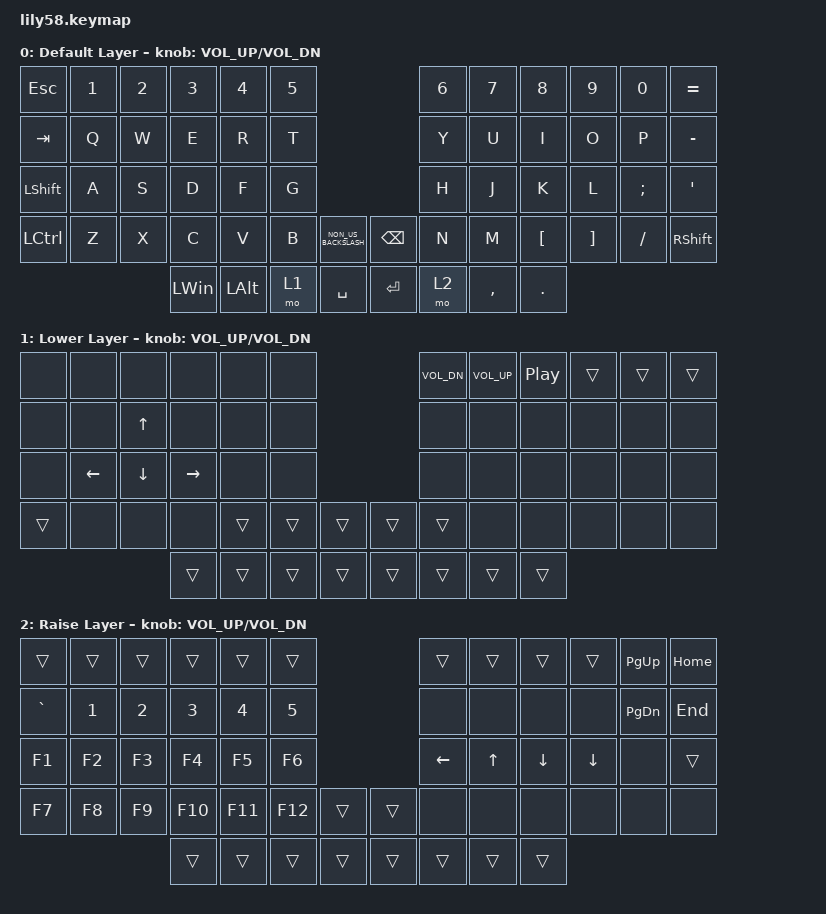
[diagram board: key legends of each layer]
/*
 * Copyright (c) 2020 The ZMK Contributors
 *
 * SPDX-License-Identifier: MIT
 */

#include <behaviors.dtsi>
#include <dt-bindings/zmk/keys.h>

/ {
    keymap {
        compatible = "zmk,keymap";

        default_layer {
            display-name = "Default Layer";

            // ------------------------------------------------------------------------------------------------------------
            // |  ESC  |  1  |  2  |  3   |  4   |  5   |                   |  6   |  7    |  8    |  9   |   0   |   `   |
            // |  TAB  |  Q  |  W  |  E   |  R   |  T   |                   |  Y   |  U    |  I    |  O   |   P   |   -   |
            // |  CTRL |  A  |  S  |  D   |  F   |  G   |                   |  H   |  J    |  K    |  L   |   ;   |   '   |
            // | SHIFT |  Z  |  X  |  C   |  V   |  B   |   "["  |  |  "]"  |  N   |  M    |  ,    |  .   |   /   | SHIFT |
            //                     | ALT  | GUI  | LOWER|  SPACE |  | ENTER | RAISE| BSPC  | GUI   |

            bindings = <
&kp ESC           &kp N1  &kp N2  &kp N3        &kp N4        &kp N5                                         &kp N6  &kp N7     &kp N8            &kp N9             &kp N0    &kp EQUAL
&kp TAB           &kp Q   &kp W   &kp E         &kp R         &kp T                                          &kp Y   &kp U      &kp I             &kp O              &kp P     &kp MINUS
&kp LEFT_SHIFT    &kp A   &kp S   &kp D         &kp F         &kp G                                          &kp H   &kp J      &kp K             &kp L              &kp SEMI  &kp SQT
&kp LEFT_CONTROL  &kp Z   &kp X   &kp C         &kp V         &kp B   &kp NON_US_BACKSLASH    &kp BACKSPACE  &kp N   &kp M      &kp LEFT_BRACKET  &kp RIGHT_BRACKET  &kp FSLH  &kp RSHFT
                                  &kp LEFT_WIN  &kp LEFT_ALT  &mo 1   &kp SPACE               &kp RET        &mo 2   &kp COMMA  &kp DOT
            >;

            sensor-bindings = <&inc_dec_kp C_VOL_UP C_VOL_DN>;
        };

        lower_layer {
            display-name = "Lower Layer";

            // ------------------------------------------------------------------------------------------------------------
            // | BTCLR | BT1 | BT2 |  BT3 |  BT4 |  BT5 |                   |      |       |       |      |       |       |
            // |  F1   |  F2 |  F3 |  F4  |  F5  |  F6  |                   |  F7  |  F8   |  F9   |  F10 |  F11  |  F12  |
            // |   `   |  !  |  @  |  #   |  $   |  %   |                   |  ^   |  &    |  *    |  (   |   )   |   ~   |
            // |       |     |     |      |      |      |        |  |       |      |  _    |  +    |  {   |   }   |  "|"  |
            //                     |      |      |      |        |  |       |      |       |       |

            bindings = <
&none   &none     &none     &none      &none   &none                     &kp C_VOL_DN  &kp C_VOL_UP  &kp C_PLAY_PAUSE  &trans  &trans  &trans
&none   &none     &kp UP    &none      &none   &none                     &none         &none         &none             &none   &none   &none
&none   &kp LEFT  &kp DOWN  &kp RIGHT  &none   &none                     &none         &none         &none             &none   &none   &none
&trans  &none     &none     &none      &trans  &trans  &trans    &trans  &trans        &none         &none             &none   &none   &none
                            &trans     &trans  &trans  &trans    &trans  &trans        &trans        &trans
            >;

            sensor-bindings = <&inc_dec_kp C_VOL_UP C_VOL_DN>;
        };

        raise_layer {
            display-name = "Raise Layer";

            // ------------------------------------------------------------------------------------------------------------
            // |       |     |     |      |      |      |                   |      |       |       |      |       |       |
            // |   `   |  1  |  2  |  3   |  4   |  5   |                   |  6   |   7   |   8   |  9   |   0   |       |
            // |   F1  |  F2 |  F3 |  F4  |  F5  |  F6  |                   |      |   <-  |   v   |  ^   |  ->   |       |
            // |   F7  |  F8 |  F9 |  F10 |  F11 |  F12 |        |  |       |  +   |   -   |   =   |  [   |   ]   |   \   |
            //                     |      |      |      |        |  |       |      |       |       |

            bindings = <
&trans     &trans  &trans  &trans   &trans   &trans                     &trans    &trans  &trans    &trans    &kp PG_UP      &kp HOME
&kp GRAVE  &kp N1  &kp N2  &kp N3   &kp N4   &kp N5                     &none     &none   &none     &none     &kp PAGE_DOWN  &kp END
&kp F1     &kp F2  &kp F3  &kp F4   &kp F5   &kp F6                     &kp LEFT  &kp UP  &kp DOWN  &kp DOWN  &none          &trans
&kp F7     &kp F8  &kp F9  &kp F10  &kp F11  &kp F12  &trans    &trans  &none     &none   &none     &none     &none          &none
                           &trans   &trans   &trans   &trans    &trans  &trans    &trans  &trans
            >;

            sensor-bindings = <&inc_dec_kp C_VOL_UP C_VOL_DN>;
        };
    };
};
